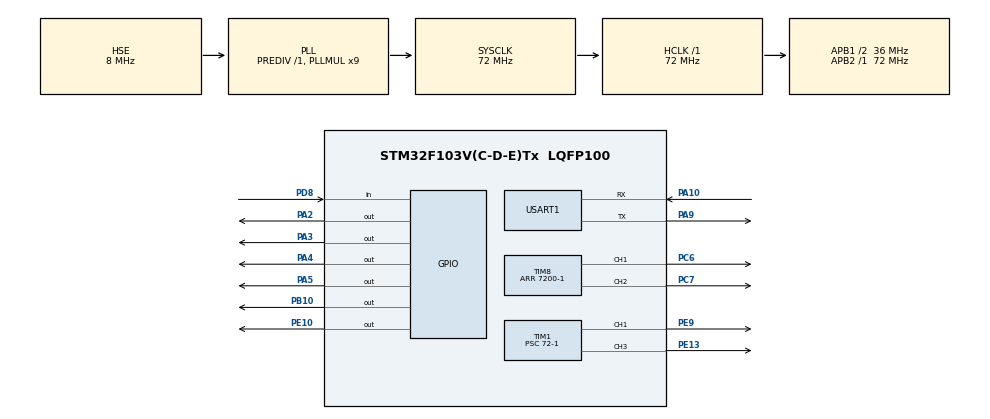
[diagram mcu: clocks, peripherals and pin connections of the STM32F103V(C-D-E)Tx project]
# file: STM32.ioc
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Mcu.Family=STM32F1
Mcu.Name=STM32F103V(C-D-E)Tx
Mcu.Package=LQFP100
NVIC.PriorityGroup=NVIC_PRIORITYGROUP_4
NVIC.USART1_IRQn=true\:0\:0\:false\:false\:true\:true\:true
OSC_IN.Mode=HSE-External-Oscillator
OSC_IN.Signal=RCC_OSC_IN
OSC_OUT.Mode=HSE-External-Oscillator
OSC_OUT.Signal=RCC_OSC_OUT
PA10.Mode=Asynchronous
PA10.Signal=USART1_RX
PA13.Mode=Serial_Wire
PA13.Signal=SYS_JTMS-SWDIO
PA14.Mode=Serial_Wire
PA14.Signal=SYS_JTCK-SWCLK
PA2.Signal=GPIO_Output
PA3.Signal=GPIO_Output
PA4.Signal=GPIO_Output
PA5.Signal=GPIO_Output
PA9.Mode=Asynchronous
PA9.Signal=USART1_TX
PB10.Signal=GPIO_Output
PC14-OSC32_IN.Mode=LSE-External-Oscillator
PC14-OSC32_IN.Signal=RCC_OSC32_IN
PC15-OSC32_OUT.Mode=LSE-External-Oscillator
PC15-OSC32_OUT.Signal=RCC_OSC32_OUT
PC6.Signal=S_TIM8_CH1
PC7.Signal=S_TIM8_CH2
PD8.Signal=GPIO_Input
PE10.Signal=GPIO_Output
PE13.Signal=S_TIM1_CH3
PE9.Signal=S_TIM1_CH1
ProjectManager.HeapSize=0x200
ProjectManager.StackSize=0x400
ProjectManager.TargetToolchain=SW4STM32
RCC.AHBFreq_Value=72000000
RCC.APB1CLKDivider=RCC_HCLK_DIV2
RCC.APB1Freq_Value=36000000
RCC.APB1TimFreq_Value=72000000
RCC.APB2Freq_Value=72000000
RCC.APB2TimFreq_Value=72000000
RCC.HCLKFreq_Value=72000000
RCC.PLLMUL=RCC_PLL_MUL9
RCC.PLLSourceVirtual=RCC_PLLSOURCE_HSE
RCC.SYSCLKFreq_VALUE=72000000
RCC.SYSCLKSource=RCC_SYSCLKSOURCE_PLLCLK
RCC.USBFreq_Value=72000000
SH.S_TIM1_CH1.0=TIM1_CH1,PWM Generation1 CH1
SH.S_TIM1_CH3.0=TIM1_CH3,PWM Generation3 CH3
SH.S_TIM8_CH1.0=TIM8_CH1,PWM Generation1 CH1
SH.S_TIM8_CH2.0=TIM8_CH2,PWM Generation2 CH2
TIM1.Channel-PWM\ Generation1\ CH1=TIM_CHANNEL_1
TIM1.Channel-PWM\ Generation3\ CH3=TIM_CHANNEL_3
TIM1.Period=20000-1
TIM1.Prescaler=72-1
TIM8.Channel-PWM\ Generation1\ CH1=TIM_CHANNEL_1
TIM8.Channel-PWM\ Generation2\ CH2=TIM_CHANNEL_2
TIM8.Period=7200-1
USART1.VirtualMode=VM_ASYNC
board=custom

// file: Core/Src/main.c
/* USER CODE BEGIN Header */
/**
  ******************************************************************************
  * @file           : main.c
  * @brief          : Main program body
  ******************************************************************************
  * @attention
  *
  * <h2><center>&copy; Copyright (c) 2020 STMicroelectronics.
  * All rights reserved.</center></h2>
  *
  * This software component is licensed by ST under BSD 3-Clause license,
  * the "License"; You may not use this file except in compliance with the
  * License. You may obtain a copy of the License at:
  *                        opensource.org/licenses/BSD-3-Clause
  *
  ******************************************************************************
  */
/* USER CODE END Header */
#include "main.h"
#include "tim.h"
#include "usart.h"
#include "gpio.h"

/* USER CODE BEGIN Includes */
#include <stdio.h>
#ifdef __GNUC__
#define PUTCHAR_PROTOTYPE int __io_putchar(int ch)
#else
#define PUTCHAR_PROTOTYPE int fputc(int ch, FILE *f)
#endif
PUTCHAR_PROTOTYPE
{
    // 参数1： 使用哪个usart ,参数2： 字符， 参数3：输出数量，参数4：超时等待时间
    HAL_UART_Transmit(&huart1 , (uint8_t *)&ch, 1 , 0xffff);
    return ch;
}

//printf 替换成log
#define LOG_ENABLE 1
#if LOG_ENABLE
#define log(format,...) printf(format"\r\n",##__VA_ARGS__)
#else
#define log(format,...)
#endif
/* USER CODE END Includes */

void SystemClock_Config(void);

/* USER CODE BEGIN 0 */
uint8_t data[20]={0};

//接收usart1串口数据  回调
void HAL_UART_RxCpltCallback(UART_HandleTypeDef *huart){
    //收到数据
    //发送数据到usart
    HAL_UART_Transmit(&huart1,data,1,3000);
    //开启中断
    HAL_UART_Receive_IT(&huart1,data,1);
}
/* USER CODE END 0 */

int main(void)
{

  /* MCU Configuration--------------------------------------------------------*/

  /* Reset of all peripherals, Initializes the Flash interface and the Systick. */
  HAL_Init();

  /* Configure the system clock */
  SystemClock_Config();

  /* Initialize all configured peripherals */
  MX_GPIO_Init();
  MX_USART1_UART_Init();
  MX_TIM8_Init();
  MX_TIM1_Init();
  /* USER CODE BEGIN 2 */
    /*********************** 蜂鸣器 ***********************/
//  //响起来
//  HAL_GPIO_WritePin(GPIOB,GPIO_PIN_10,GPIO_PIN_SET);
//  //延迟2秒钟
//  HAL_Delay(2000);
//  //声音消失
//  HAL_GPIO_WritePin(GPIOB,GPIO_PIN_10,GPIO_PIN_RESET);

    //读取开关状态
    /*********************** 串口发送数据 ***********************/
//    uint8_t data[] = "hello";
//    HAL_UART_Transmit(&huart1,data, sizeof(data),3000);

    /*********************** 开启中断 ***********************/
    HAL_UART_Receive_IT(&huart1,data,1);

    /*********************** 电机控制 ***********************/
//    //正反转
//    //开启定时器
//    HAL_TIM_PWM_Start(&htim8,TIM_CHANNEL_1);
//
//    //通电 可以控制正反转
//    HAL_GPIO_WritePin(GPIOA,GPIO_PIN_2,GPIO_PIN_RESET);
//    HAL_GPIO_WritePin(GPIOA,GPIO_PIN_3,GPIO_PIN_SET);
//
//    //速度控制 PWM  7200 3000  3000/7200
//    __HAL_TIM_SET_COMPARE(&htim8,TIM_CHANNEL_1,7200);

    /*********************** 驱动两个小车电机 ***********************/
    //正反转
    //开启定时器
    HAL_TIM_PWM_Start(&htim8,TIM_CHANNEL_1);
    HAL_TIM_PWM_Start(&htim8,TIM_CHANNEL_2);

    //第一个电机
    HAL_GPIO_WritePin(GPIOA,GPIO_PIN_2,GPIO_PIN_RESET);
    HAL_GPIO_WritePin(GPIOA,GPIO_PIN_3,GPIO_PIN_SET);

    //第二个电机
    HAL_GPIO_WritePin(GPIOA,GPIO_PIN_4,GPIO_PIN_RESET);
    HAL_GPIO_WritePin(GPIOA,GPIO_PIN_5,GPIO_PIN_SET);

    //第一个电机速度控制 PWM  7200 3000  3000/7200
    __HAL_TIM_SET_COMPARE(&htim8,TIM_CHANNEL_1,7200);
    //第一个电机速度控制 PWM  7200 3000  3000/7200
    __HAL_TIM_SET_COMPARE(&htim8,TIM_CHANNEL_2,7200);
    /*********************** 驱动舵机 ***********************/
    //开启定时器
    HAL_TIM_PWM_Start(&htim1,TIM_CHANNEL_1);
    //驱动舵机 PWM
    //0度
    __HAL_TIM_SET_COMPARE(&htim1,TIM_CHANNEL_1, 500);
    //等2秒钟
    HAL_Delay(2000);
    //45度
    __HAL_TIM_SET_COMPARE(&htim1,TIM_CHANNEL_1, 1000);
    //等2秒钟
    HAL_Delay(2000);
    //90度
    __HAL_TIM_SET_COMPARE(&htim1,TIM_CHANNEL_1, 1500);
    //等2秒钟
    HAL_Delay(2000);
    //135度
    __HAL_TIM_SET_COMPARE(&htim1,TIM_CHANNEL_1, 2000);
    //等2秒钟
    HAL_Delay(2000);
    //180度
    __HAL_TIM_SET_COMPARE(&htim1,TIM_CHANNEL_1, 2500);

  /* USER CODE END 2 */

  /* Infinite loop */
  /* USER CODE BEGIN WHILE */

    while (1) {
//        //温度
////        printf("temputer:%d\r\n",30);
////        log("temputer:%d",30);
//        //uint_8  8bit
//        //float 4 32位
//        //串口通信  115200  /100
//        printf("termputer:%hd\r\n",(short)(36.5*100));
//        HAL_Delay(1000);
        /*********************** 接收串口数据 ***********************/
        /**
         * 参数1:串口
         * 参数2:用来接收收到的数据
         * 参数3:数据内存大小
         * 参数4:超时时间
         */
//        uint8_t data[20]={0};
//        HAL_UART_Receive(&huart1,data, sizeof(data),3000);
//        //打印收到的数据
//        HAL_UART_Transmit(&huart1,data,1,3000);
//        if(0)
        /*********************** 不断发送串口消息 ***********************/
//        uint8_t data[] = "hello";
//        HAL_UART_Transmit(&huart1,data, sizeof(data),3000);
//        HAL_Delay(1000);
        /*********************** 开关按钮 ***********************/
//        //读取开关按钮状态
//        GPIO_PinState state = HAL_GPIO_ReadPin(GPIOD, GPIO_PIN_8);
//        if (state == GPIO_PIN_RESET) {
//            //如果低电平 亮led灯
//            HAL_GPIO_WritePin(GPIOE,GPIO_PIN_10,GPIO_PIN_RESET);
//        } else if (state == GPIO_PIN_SET) {
//            //如果高电平  灭led灯
//            HAL_GPIO_WritePin(GPIOE,GPIO_PIN_10,GPIO_PIN_SET);
//        }
        /*********************** 蜂鸣器 ***********************/
//        //响起来
//        HAL_GPIO_WritePin(GPIOB,GPIO_PIN_10,GPIO_PIN_SET);
//        //延迟2秒钟
//        HAL_Delay(2000);
//        //声音消失
//        HAL_GPIO_WritePin(GPIOB,GPIO_PIN_10,GPIO_PIN_RESET);
//        HAL_Delay(2000);
        /*********************** led灯 ***********************/
//        //亮灯
//        HAL_GPIO_WritePin(GPIOE,GPIO_PIN_10,GPIO_PIN_RESET);
//        //等待2秒钟
//        //参数:等待毫秒值
//        HAL_Delay(2000);
//        //灭灯
//        HAL_GPIO_WritePin(GPIOE,GPIO_PIN_10,GPIO_PIN_SET);
//        //等待2秒钟
//        HAL_Delay(2000);
    /* USER CODE END WHILE */

    }
}

void SystemClock_Config(void)
{
  RCC_OscInitTypeDef RCC_OscInitStruct = {0};
  RCC_ClkInitTypeDef RCC_ClkInitStruct = {0};

  /** Initializes the RCC Oscillators according to the specified parameters
  * in the RCC_OscInitTypeDef structure.
  */
  RCC_OscInitStruct.OscillatorType = RCC_OSCILLATORTYPE_HSE;
  RCC_OscInitStruct.HSEState = RCC_HSE_ON;
  RCC_OscInitStruct.HSEPredivValue = RCC_HSE_PREDIV_DIV1;
  RCC_OscInitStruct.HSIState = RCC_HSI_ON;
  RCC_OscInitStruct.PLL.PLLState = RCC_PLL_ON;
  RCC_OscInitStruct.PLL.PLLSource = RCC_PLLSOURCE_HSE;
  RCC_OscInitStruct.PLL.PLLMUL = RCC_PLL_MUL9;
  if (HAL_RCC_OscConfig(&RCC_OscInitStruct) != HAL_OK)
  {
    Error_Handler();
  }
  /** Initializes the CPU, AHB and APB buses clocks
  */
  RCC_ClkInitStruct.ClockType = RCC_CLOCKTYPE_HCLK|RCC_CLOCKTYPE_SYSCLK
                              |RCC_CLOCKTYPE_PCLK1|RCC_CLOCKTYPE_PCLK2;
  RCC_ClkInitStruct.SYSCLKSource = RCC_SYSCLKSOURCE_PLLCLK;
  RCC_ClkInitStruct.AHBCLKDivider = RCC_SYSCLK_DIV1;
  RCC_ClkInitStruct.APB1CLKDivider = RCC_HCLK_DIV2;
  RCC_ClkInitStruct.APB2CLKDivider = RCC_HCLK_DIV1;

  if (HAL_RCC_ClockConfig(&RCC_ClkInitStruct, FLASH_LATENCY_2) != HAL_OK)
  {
    Error_Handler();
  }
}

void Error_Handler(void)
{
}

/************************ (C) COPYRIGHT STMicroelectronics *****END OF FILE****/
